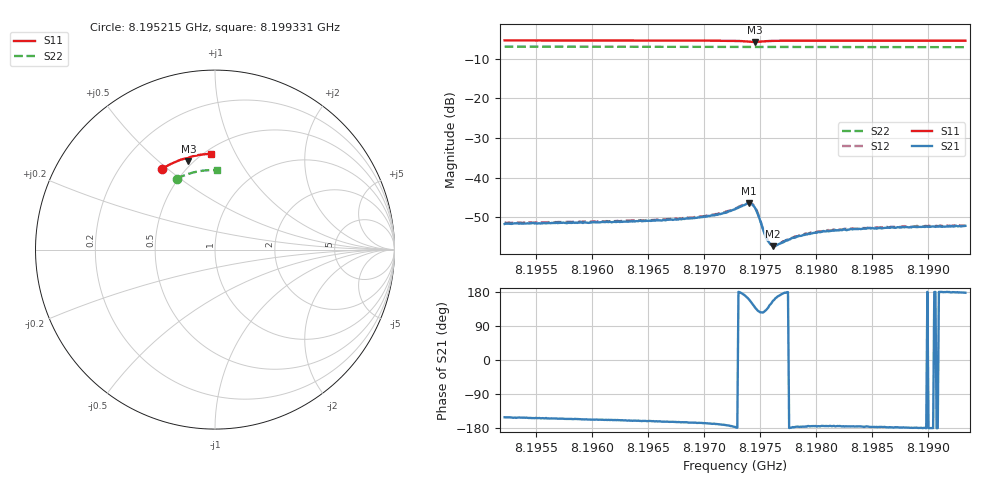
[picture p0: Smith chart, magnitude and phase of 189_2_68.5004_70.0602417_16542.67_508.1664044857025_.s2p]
#  HZ  S  RI  R  50.00
! Rohde & Schwarz Vector Network Analyzer
! Rohde-Schwarz,ZNB20-2Port,1311601062101988,3.16
! Created: UTC 3/20/2024, 5:12:10 PM
! freq[Hz]  re:S11  im:S11  re:S21  im:S21  re:S12  im:S12  re:S22  im:S22
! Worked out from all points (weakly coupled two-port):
!   401 points, 8.195215 GHz to 8.199331 GHz, reference 50 ohm
!   highest |S21| = -46.44 dB at 8.197397 GHz (marker M1); lowest = -57.2 dB at 8.197613 GHz (marker M2)
!   lowest |S11| = -5.8 dB at 8.197448 GHz (marker M3), VSWR 3.12, Z = 23.5 + j31.6 ohm
!   |S11| at or under -10 dB: nowhere
!   |S22| runs from -7.1 to -6.9 dB; largest |S21 - S12| = 0.00025
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8.1952155e9  -0.2959 0.4489  -0.00229 -0.00126  -0.00244 -0.00122  -0.2128 0.3957
8.1959048e9  -0.2535 0.4735  -0.0025 -0.00108  -0.00258 -0.00101  -0.1774 0.4116
8.1965941e9  -0.2086 0.494  -0.00276 -0.000911  -0.00284 -0.000798  -0.1407 0.4244
8.1970056e9  -0.1795 0.5043  -0.00314 -0.000745  -0.00324 -0.000598  -0.1183 0.4304
8.1971805e9  -0.1652 0.5074  -0.00357 -0.00054  -0.00365 -0.000413  -0.1087 0.4327
8.1972731e9  -0.1564 0.5077  -0.004 -0.000237  -0.00408 -5.25e-05  -0.1034 0.4337
8.1973657e9  -0.1466 0.5031  -0.00452 0.000878  -0.00457 0.00108  -0.0984 0.4346
8.1973966e9  -0.1449 0.4994  -0.00448 0.00161  -0.00448 0.00181  -0.0967 0.4348
8.1974274e9  -0.146 0.4951  -0.00392 0.0024  -0.00389 0.0026  -0.0952 0.4351
8.197448e9  -0.1486 0.4932  -0.00326 0.00275  -0.00321 0.0029  -0.0941 0.4352
8.1974789e9  -0.1532 0.4941  -0.00217 0.00264  -0.00214 0.00279  -0.0924 0.4353
8.1975509e9  -0.1547 0.5036  -0.00116 0.0013  -0.00113 0.0014  -0.0886 0.4364
8.1975817e9  -0.1526 0.5069  -0.00122 0.000862  -0.00118 0.000944  -0.0868 0.4368
8.1976126e9  -0.1504 0.5093  -0.00126 0.000552  -0.00128 0.000654  -0.0851 0.4371
8.1976538e9  -0.1469 0.5119  -0.0014 0.000308  -0.00141 0.00038  -0.0829 0.4376
8.1977464e9  -0.139 0.5155  -0.00163 2.46e-05  -0.00167 6.79e-05  -0.0776 0.4383
8.1978287e9  -0.1323 0.5178  -0.00183 -0.000125  -0.00182 -2.69e-05  -0.0729 0.439
8.1979624e9  -0.1222 0.5207  -0.00198 -0.000197  -0.00202 -0.000121  -0.0656 0.4399
8.1980756e9  -0.1138 0.5225  -0.0021 -0.000204  -0.00215 -0.000138  -0.059 0.4406
8.1982608e9  -0.1003 0.5254  -0.00219 -0.000196  -0.00227 -0.000101  -0.0485 0.4416
8.1986517e9  -0.0724 0.5296  -0.00234 -0.000113  -0.00238 -2.44e-05  -0.0264 0.4426
8.1993307e9  -0.0242 0.5334  -0.00247 0.000111  -0.00247 0.000196  0.0121 0.4422
